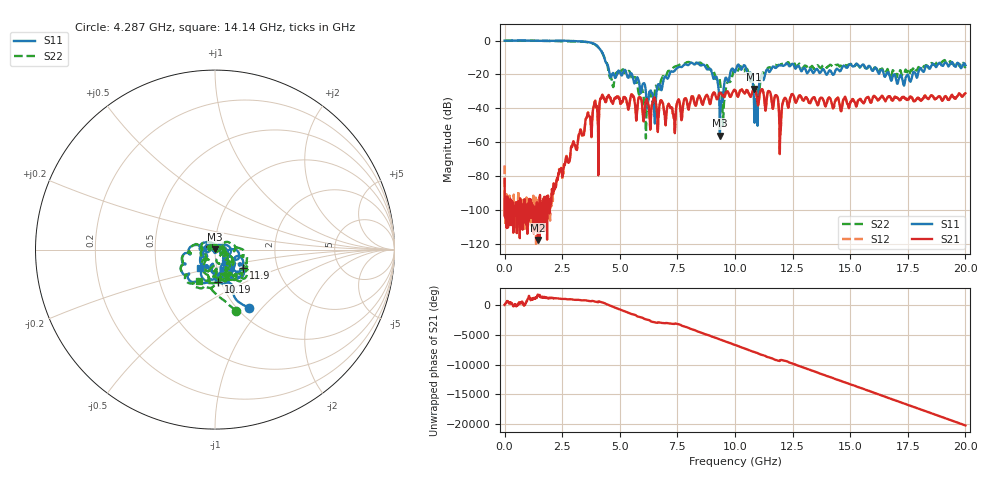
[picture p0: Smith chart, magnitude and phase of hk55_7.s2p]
#  HZ  S  RI  R  50.00
! Rohde & Schwarz Vector Network Analyzer
! Rohde-Schwarz,ZNB20-2Port,1311601062102128,3.60
! Created: UTC 4/29/2024, 3:44:43 PM
! freq[Hz]  re:S11  im:S11  re:S21  im:S21  re:S12  im:S12  re:S22  im:S22
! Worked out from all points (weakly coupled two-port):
!   2007 points, 100 kHz to 20 GHz, reference 50 ohm
!   highest |S21| = -28.52 dB at 10.83 GHz (marker M1); lowest = -117.8 dB at 1.446 GHz (marker M2)
!   lowest |S11| = -56.1 dB at 9.342 GHz (marker M3), VSWR 1.00, Z = 50.1 + j0.143 ohm
!   |S11| at or under -10 dB: 4.327 GHz to end of sweep
!   |S22| runs from -57.8 to 0.1 dB; largest |S21 - S12| = 0.002
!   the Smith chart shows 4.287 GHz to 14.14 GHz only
!   S11 on the Smith chart (normalised r, x): 4.287 GHz: 1.13, -0.86; 10.19 GHz: 0.97, -0.36; 11.9 GHz: 1.34, -0.28; 14.14 GHz: 0.83, -0.17
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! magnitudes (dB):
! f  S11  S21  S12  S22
! 100 kHz  0.0  -81.7  -73.8  0.1
! 1.446 GHz  -0.1  -117.8  -106.8  -0.1
! 2.483 GHz  0.0  -77.5  -77.5  -0.3
! 3.34 GHz  -0.6  -55.3  -55.0  -0.6
! 4.287 GHz  -8.5  -33.2  -33.3  -8.9
! 4.656 GHz  -20.2  -35.7  -35.7  -23.5
! 5.653 GHz  -25.1  -36.9  -37.0  -21.6
! 6.132 GHz  -30.5  -35.5  -35.4  -57.8
! 6.67 GHz  -25.8  -46.7  -47.0  -28.1
! 8.375 GHz  -13.1  -34.3  -34.3  -13.5
! 9.173 GHz  -21.3  -33.3  -33.3  -22.6
! 9.342 GHz  -56.1  -30.8  -30.8  -23.6
! 9.502 GHz  -29.1  -32.9  -32.9  -42.4
! 10 GHz  -18.6  -29.3  -29.4  -17.5
! 10.19 GHz  -14.9  -30.7  -30.8  -16.2
! 10.83 GHz  -38.3  -28.5  -28.4  -28.3
! 11.79 GHz  -15.9  -32.3  -32.3  -14.7
! 11.9 GHz  -14.6  -40.8  -40.7  -14.4
! 13.34 GHz  -17.9  -34.5  -34.5  -14.9
! 14.14 GHz  -17.7  -34.3  -34.3  -14.3
! 16.67 GHz  -19.1  -32.9  -33.0  -18.9
! 20 GHz  -14.5  -31.1  -31.2  -15.2
